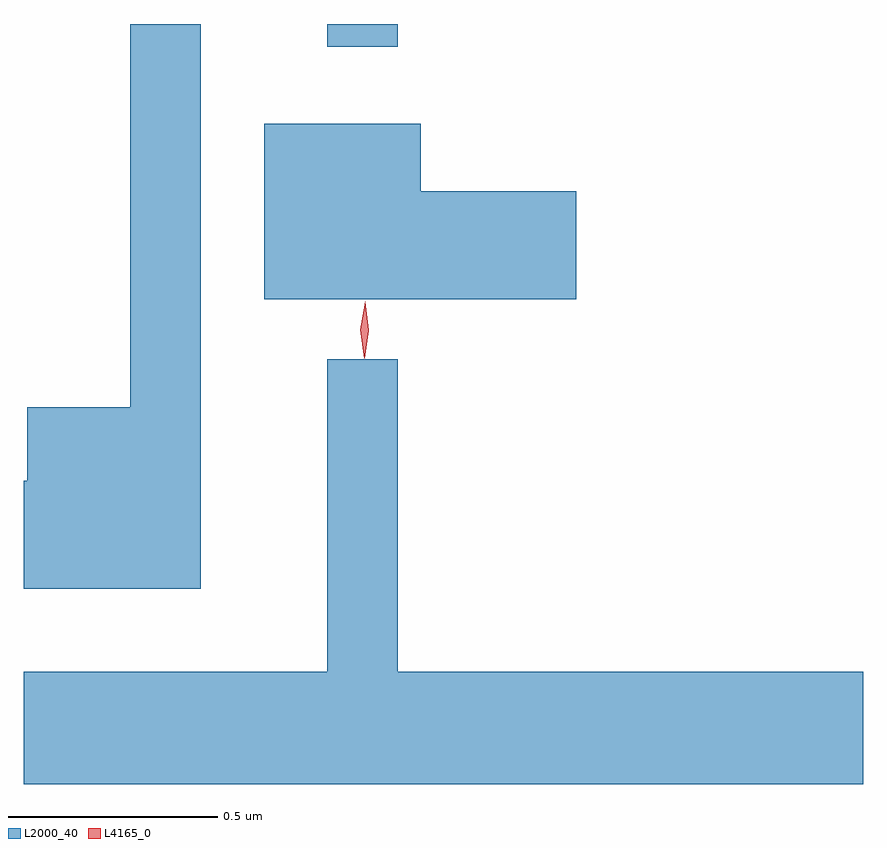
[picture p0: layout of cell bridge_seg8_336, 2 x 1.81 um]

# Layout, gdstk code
import gdstk
lib = gdstk.Library(unit=1e-6, precision=1e-09)
def R(c, l, rs):  # rectangles x0, y0, x1, y1
    for r in rs: c.add(gdstk.rectangle(r[:2], r[2:], *l))
def P(c, l, *ps):  # polygons
    for p in ps: c.add(gdstk.Polygon(p, *l))
L2000_40 = (2000, 40)
L4165_0 = (4165, 0)

bridge_seg8_336 = lib.new_cell('bridge_seg8_336')
R(bridge_seg8_336, L2000_40, [(838.351,1902.553,838.519,1902.607)])
P(bridge_seg8_336, L2000_40, [(838.049,1902.607),(837.881,1902.607),(837.881,1901.694),(837.636,1901.694),(837.636,1901.519),(837.628,1901.519),(837.628,1901.261),(838.049,1901.261)],
  [(838.944,1902.209),(838.574,1902.209),(838.574,1902.369),(838.201,1902.369),(838.201,1901.951),(838.944,1901.951)],
  [(839.628,1901.064),(838.519,1901.064),(838.519,1901.808),(838.351,1901.808),(838.351,1901.064),(837.628,1901.064),(837.628,1900.796),(839.628,1900.796)])
P(bridge_seg8_336, L4165_0, [(838.439,1901.81),(838.43,1901.878),(838.441,1901.945),(838.441,1901.946),(838.442,1901.945),(838.45,1901.878),(838.44,1901.81),(838.44,1901.81)],
  [(838.439,1901.813),(838.431,1901.876),(838.441,1901.939),(838.441,1901.94),(838.442,1901.939),(838.45,1901.876),(838.44,1901.813),(838.44,1901.813)])

lib.write_gds('bridge_seg8_336.gds')
